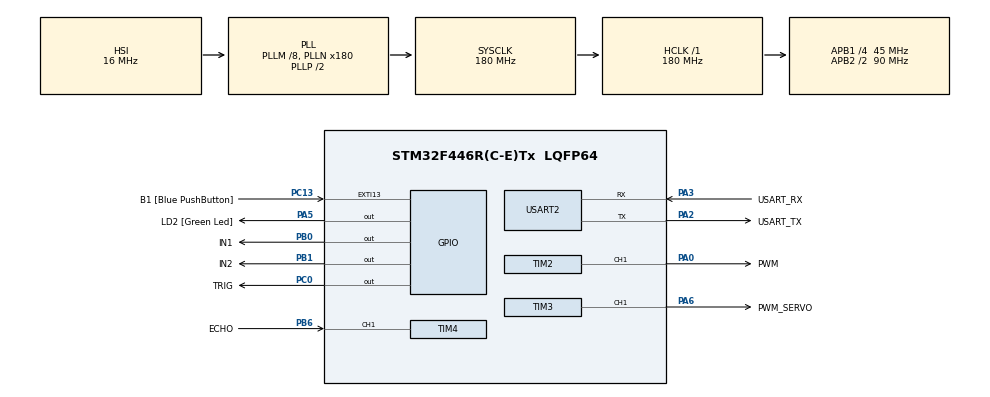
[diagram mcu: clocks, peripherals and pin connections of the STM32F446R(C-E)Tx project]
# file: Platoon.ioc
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Mcu.Family=STM32F4
Mcu.Name=STM32F446R(C-E)Tx
Mcu.Package=LQFP64
NVIC.PriorityGroup=NVIC_PRIORITYGROUP_0
NVIC.TIM4_IRQn=true\:0\:0\:false\:false\:true\:true\:true\:true
NVIC.USART2_IRQn=true\:0\:0\:false\:false\:true\:true\:true\:true
PA0-WKUP.GPIO_Label=PWM
PA0-WKUP.Signal=S_TIM2_CH1_ETR
PA13.GPIO_Label=TMS
PA13.Mode=Serial_Wire
PA13.Signal=SYS_JTMS-SWDIO
PA14.GPIO_Label=TCK
PA14.Mode=Serial_Wire
PA14.Signal=SYS_JTCK-SWCLK
PA2.GPIO_Label=USART_TX
PA2.Mode=Asynchronous
PA2.Signal=USART2_TX
PA3.GPIO_Label=USART_RX
PA3.Mode=Asynchronous
PA3.Signal=USART2_RX
PA5.GPIO_Label=LD2 [Green Led]
PA5.Signal=GPIO_Output
PA6.GPIO_Label=PWM_SERVO
PA6.Signal=S_TIM3_CH1
PB0.GPIO_Label=IN1
PB0.Signal=GPIO_Output
PB1.GPIO_Label=IN2
PB1.Signal=GPIO_Output
PB3.GPIO_Label=SWO
PB3.Signal=SYS_JTDO-SWO
PB6.GPIO_Label=ECHO
PB6.Signal=S_TIM4_CH1
PC0.GPIO_Label=TRIG
PC0.GPIO_Speed=GPIO_SPEED_FREQ_HIGH
PC0.Signal=GPIO_Output
PC13.GPIO_Label=B1 [Blue PushButton]
PC13.GPIO_ModeDefaultEXTI=GPIO_MODE_IT_FALLING
PC13.Signal=GPXTI13
PC14-OSC32_IN.Mode=LSE-External-Oscillator
PC14-OSC32_IN.Signal=RCC_OSC32_IN
PC15-OSC32_OUT.Mode=LSE-External-Oscillator
PC15-OSC32_OUT.Signal=RCC_OSC32_OUT
PH0-OSC_IN.Mode=HSE-External-Oscillator
PH0-OSC_IN.Signal=RCC_OSC_IN
PH1-OSC_OUT.Mode=HSE-External-Oscillator
PH1-OSC_OUT.Signal=RCC_OSC_OUT
ProjectManager.HeapSize=0x200
ProjectManager.StackSize=0x400
ProjectManager.TargetToolchain=STM32CubeIDE
RCC.48MHZClocksFreq_Value=84000000
RCC.AHBFreq_Value=180000000
RCC.APB1CLKDivider=RCC_HCLK_DIV4
RCC.APB1Freq_Value=45000000
RCC.APB1TimFreq_Value=90000000
RCC.APB2CLKDivider=RCC_HCLK_DIV2
RCC.APB2Freq_Value=90000000
RCC.APB2TimFreq_Value=180000000
RCC.CortexFreq_Value=180000000
RCC.FLatency-AdvancedSettings=FLASH_LATENCY_5
RCC.HCLKFreq_Value=180000000
RCC.HSE_VALUE=8000000
RCC.HSI_VALUE=16000000
RCC.PLLM=8
RCC.PLLN=180
RCC.SYSCLKFreq_VALUE=180000000
RCC.SYSCLKSource=RCC_SYSCLKSOURCE_PLLCLK
RCC.USBFreq_Value=180000000
RCC.VCOOutputFreq_Value=360000000
SH.S_TIM2_CH1_ETR.0=TIM2_CH1,PWM Generation1 CH1
SH.S_TIM3_CH1.0=TIM3_CH1,PWM Generation1 CH1
SH.S_TIM4_CH1.0=TIM4_CH1,Input_Capture1_from_TI1
TIM2.Channel-PWM\ Generation1\ CH1=TIM_CHANNEL_1
TIM2.Period=999
TIM2.Prescaler=89
TIM3.Channel-PWM\ Generation1\ CH1=TIM_CHANNEL_1
TIM3.Period=19999
TIM3.Prescaler=89
TIM3.Pulse-PWM\ Generation1\ CH1=1500
TIM4.Channel-Input_Capture1_from_TI1=TIM_CHANNEL_1
TIM4.ICPolarity_CH1=TIM_INPUTCHANNELPOLARITY_BOTHEDGE
TIM4.Period=65535
TIM4.Prescaler=89
USART2.VirtualMode=VM_ASYNC
VP_TIM2_VS_ClockSourceINT.Mode=Internal
VP_TIM3_VS_ClockSourceINT.Mode=Internal
VP_TIM4_VS_ClockSourceINT.Mode=Internal
board=NUCLEO-F446RE

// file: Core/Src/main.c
/* USER CODE BEGIN Header */
/**
  ******************************************************************************
  * @file           : main.c
  * @brief          : Platoon Vehicle Main
  ******************************************************************************
  */
/* USER CODE END Header */

#include "main.h"

/* USER CODE BEGIN Includes */
#include "servo.h"
#include "encoder.h"
#include "supersonic.h"
#include "serial_communication.h"
#include "test.h"
/* USER CODE END Includes */

TIM_HandleTypeDef htim2;
TIM_HandleTypeDef htim3;
TIM_HandleTypeDef htim4;
UART_HandleTypeDef huart2;

void SystemClock_Config(void);
static void MX_GPIO_Init(void);
static void MX_TIM2_Init(void);
static void MX_TIM3_Init(void);
static void MX_TIM4_Init(void);
static void MX_USART2_UART_Init(void);

/* USER CODE BEGIN PV */
static uint32_t last_send_tick = 0;
/* USER CODE END PV */

int main(void)
{
  HAL_Init();
  SystemClock_Config();

  MX_GPIO_Init();
  MX_TIM2_Init();
  MX_TIM3_Init();
  MX_TIM4_Init();
  MX_USART2_UART_Init();

  /* USER CODE BEGIN 2 */
  Encoder_Init(&htim2);
  Servo_Init(&htim3);
  Supersonic_Init(&htim4);
  Serial_Init(&huart2);
  HAL_Delay(500);

  /* ═══════════════════════════════════════════════════════
     테스트 모드 선택 (test.h에서 설정)
     아래 중 하나를 1로 변경하여 테스트 실행
     ═══════════════════════════════════════════════════════ */
  if (TEST_MODE_MOTOR) {
      Test_Motor();
  } else if (TEST_MODE_SERVO) {
      Test_Servo();
  } else if (TEST_MODE_ULTRASONIC) {
      Test_Ultrasonic();
  } else if (TEST_MODE_SERIAL) {
      Test_Serial();
  } else if (TEST_MODE_ALL) {
      Test_All();
  }
  /* USER CODE END 2 */

  while (1)
  {
      // 초음파 트리거 (60ms 간격)
      Supersonic_Trigger();
      HAL_Delay(60);

      // Jetson으로 전송 (100ms 간격)
      if (HAL_GetTick() - last_send_tick >= 100) {
          Serial_SendAll();
          last_send_tick = HAL_GetTick();
      }

      // 장애물 20cm 이내 → 긴급 정지
      float dist = Supersonic_GetDistance();
      if (dist > 0.0f && dist < 20.0f) {
          Motor_Stop();
          HAL_GPIO_WritePin(LD2_GPIO_Port, LD2_Pin, GPIO_PIN_SET);
      } else {
          HAL_GPIO_WritePin(LD2_GPIO_Port, LD2_Pin, GPIO_PIN_RESET);
      }
  }
}

/* USER CODE BEGIN 4 */
void HAL_TIM_IC_CaptureCallback(TIM_HandleTypeDef *htim)
{
    Supersonic_CaptureCallback(htim);
}

void HAL_UART_RxCpltCallback(UART_HandleTypeDef *huart)
{
    if (huart->Instance == USART2)
        Serial_RxCallback();
}
/* USER CODE END 4 */

void SystemClock_Config(void)
{
  RCC_OscInitTypeDef RCC_OscInitStruct = {0};
  RCC_ClkInitTypeDef RCC_ClkInitStruct = {0};
  __HAL_RCC_PWR_CLK_ENABLE();
  __HAL_PWR_VOLTAGESCALING_CONFIG(PWR_REGULATOR_VOLTAGE_SCALE1);
  RCC_OscInitStruct.OscillatorType = RCC_OSCILLATORTYPE_HSI;
  RCC_OscInitStruct.HSIState = RCC_HSI_ON;
  RCC_OscInitStruct.HSICalibrationValue = RCC_HSICALIBRATION_DEFAULT;
  RCC_OscInitStruct.PLL.PLLState = RCC_PLL_ON;
  RCC_OscInitStruct.PLL.PLLSource = RCC_PLLSOURCE_HSI;
  RCC_OscInitStruct.PLL.PLLM = 8;
  RCC_OscInitStruct.PLL.PLLN = 180;
  RCC_OscInitStruct.PLL.PLLP = RCC_PLLP_DIV2;
  RCC_OscInitStruct.PLL.PLLQ = 2;
  RCC_OscInitStruct.PLL.PLLR = 2;
  if (HAL_RCC_OscConfig(&RCC_OscInitStruct) != HAL_OK) Error_Handler();
  if (HAL_PWREx_EnableOverDrive() != HAL_OK) Error_Handler();
  RCC_ClkInitStruct.ClockType = RCC_CLOCKTYPE_HCLK|RCC_CLOCKTYPE_SYSCLK
                              |RCC_CLOCKTYPE_PCLK1|RCC_CLOCKTYPE_PCLK2;
  RCC_ClkInitStruct.SYSCLKSource = RCC_SYSCLKSOURCE_PLLCLK;
  RCC_ClkInitStruct.AHBCLKDivider = RCC_SYSCLK_DIV1;
  RCC_ClkInitStruct.APB1CLKDivider = RCC_HCLK_DIV4;
  RCC_ClkInitStruct.APB2CLKDivider = RCC_HCLK_DIV2;
  if (HAL_RCC_ClockConfig(&RCC_ClkInitStruct, FLASH_LATENCY_5) != HAL_OK) Error_Handler();
}

static void MX_TIM2_Init(void)
{
  TIM_ClockConfigTypeDef sClockSourceConfig = {0};
  TIM_MasterConfigTypeDef sMasterConfig = {0};
  TIM_OC_InitTypeDef sConfigOC = {0};
  htim2.Instance = TIM2;
  htim2.Init.Prescaler = 89;       // 90MHz/90 = 1MHz
  htim2.Init.CounterMode = TIM_COUNTERMODE_UP;
  htim2.Init.Period = 999;
  htim2.Init.ClockDivision = TIM_CLOCKDIVISION_DIV1;
  htim2.Init.AutoReloadPreload = TIM_AUTORELOAD_PRELOAD_DISABLE;
  if (HAL_TIM_Base_Init(&htim2) != HAL_OK) Error_Handler();
  sClockSourceConfig.ClockSource = TIM_CLOCKSOURCE_INTERNAL;
  if (HAL_TIM_ConfigClockSource(&htim2, &sClockSourceConfig) != HAL_OK) Error_Handler();
  if (HAL_TIM_PWM_Init(&htim2) != HAL_OK) Error_Handler();
  sMasterConfig.MasterOutputTrigger = TIM_TRGO_RESET;
  sMasterConfig.MasterSlaveMode = TIM_MASTERSLAVEMODE_DISABLE;
  if (HAL_TIMEx_MasterConfigSynchronization(&htim2, &sMasterConfig) != HAL_OK) Error_Handler();
  sConfigOC.OCMode = TIM_OCMODE_PWM1;
  sConfigOC.Pulse = 0;
  sConfigOC.OCPolarity = TIM_OCPOLARITY_HIGH;
  sConfigOC.OCFastMode = TIM_OCFAST_DISABLE;
  if (HAL_TIM_PWM_ConfigChannel(&htim2, &sConfigOC, TIM_CHANNEL_1) != HAL_OK) Error_Handler();
  HAL_TIM_MspPostInit(&htim2);
}

static void MX_TIM3_Init(void)
{
  TIM_ClockConfigTypeDef sClockSourceConfig = {0};
  TIM_MasterConfigTypeDef sMasterConfig = {0};
  TIM_OC_InitTypeDef sConfigOC = {0};
  htim3.Instance = TIM3;
  htim3.Init.Prescaler = 89;       // 1MHz
  htim3.Init.CounterMode = TIM_COUNTERMODE_UP;
  htim3.Init.Period = 19999;       // 50Hz
  htim3.Init.ClockDivision = TIM_CLOCKDIVISION_DIV1;
  htim3.Init.AutoReloadPreload = TIM_AUTORELOAD_PRELOAD_DISABLE;
  if (HAL_TIM_Base_Init(&htim3) != HAL_OK) Error_Handler();
  sClockSourceConfig.ClockSource = TIM_CLOCKSOURCE_INTERNAL;
  if (HAL_TIM_ConfigClockSource(&htim3, &sClockSourceConfig) != HAL_OK) Error_Handler();
  if (HAL_TIM_PWM_Init(&htim3) != HAL_OK) Error_Handler();
  sMasterConfig.MasterOutputTrigger = TIM_TRGO_RESET;
  sMasterConfig.MasterSlaveMode = TIM_MASTERSLAVEMODE_DISABLE;
  if (HAL_TIMEx_MasterConfigSynchronization(&htim3, &sMasterConfig) != HAL_OK) Error_Handler();
  sConfigOC.OCMode = TIM_OCMODE_PWM1;
  sConfigOC.Pulse = 1500;
  sConfigOC.OCPolarity = TIM_OCPOLARITY_HIGH;
  sConfigOC.OCFastMode = TIM_OCFAST_DISABLE;
  if (HAL_TIM_PWM_ConfigChannel(&htim3, &sConfigOC, TIM_CHANNEL_1) != HAL_OK) Error_Handler();
  HAL_TIM_MspPostInit(&htim3);
}

static void MX_TIM4_Init(void)
{
  TIM_ClockConfigTypeDef sClockSourceConfig = {0};
  TIM_MasterConfigTypeDef sMasterConfig = {0};
  TIM_IC_InitTypeDef sConfigIC = {0};
  htim4.Instance = TIM4;
  htim4.Init.Prescaler = 89;       // 1us 단위
  htim4.Init.CounterMode = TIM_COUNTERMODE_UP;
  htim4.Init.Period = 65535;
  htim4.Init.ClockDivision = TIM_CLOCKDIVISION_DIV1;
  htim4.Init.AutoReloadPreload = TIM_AUTORELOAD_PRELOAD_DISABLE;
  if (HAL_TIM_Base_Init(&htim4) != HAL_OK) Error_Handler();
  sClockSourceConfig.ClockSource = TIM_CLOCKSOURCE_INTERNAL;
  if (HAL_TIM_ConfigClockSource(&htim4, &sClockSourceConfig) != HAL_OK) Error_Handler();
  if (HAL_TIM_IC_Init(&htim4) != HAL_OK) Error_Handler();
  sMasterConfig.MasterOutputTrigger = TIM_TRGO_RESET;
  sMasterConfig.MasterSlaveMode = TIM_MASTERSLAVEMODE_DISABLE;
  if (HAL_TIMEx_MasterConfigSynchronization(&htim4, &sMasterConfig) != HAL_OK) Error_Handler();
  sConfigIC.ICPolarity = TIM_INPUTCHANNELPOLARITY_BOTHEDGE;
  sConfigIC.ICSelection = TIM_ICSELECTION_DIRECTTI;
  sConfigIC.ICPrescaler = TIM_ICPSC_DIV1;
  sConfigIC.ICFilter = 0;
  if (HAL_TIM_IC_ConfigChannel(&htim4, &sConfigIC, TIM_CHANNEL_1) != HAL_OK) Error_Handler();
}

static void MX_USART2_UART_Init(void)
{
  huart2.Instance = USART2;
  huart2.Init.BaudRate = 115200;
  huart2.Init.WordLength = UART_WORDLENGTH_8B;
  huart2.Init.StopBits = UART_STOPBITS_1;
  huart2.Init.Parity = UART_PARITY_NONE;
  huart2.Init.Mode = UART_MODE_TX_RX;
  huart2.Init.HwFlowCtl = UART_HWCONTROL_NONE;
  huart2.Init.OverSampling = UART_OVERSAMPLING_16;
  if (HAL_UART_Init(&huart2) != HAL_OK) Error_Handler();
}

static void MX_GPIO_Init(void)
{
  GPIO_InitTypeDef GPIO_InitStruct = {0};
  __HAL_RCC_GPIOC_CLK_ENABLE();
  __HAL_RCC_GPIOH_CLK_ENABLE();
  __HAL_RCC_GPIOA_CLK_ENABLE();
  __HAL_RCC_GPIOB_CLK_ENABLE();

  HAL_GPIO_WritePin(TRIG_GPIO_Port, TRIG_Pin, GPIO_PIN_RESET);
  HAL_GPIO_WritePin(LD2_GPIO_Port, LD2_Pin, GPIO_PIN_RESET);
  HAL_GPIO_WritePin(GPIOB, IN1_Pin|IN2_Pin, GPIO_PIN_RESET);

  GPIO_InitStruct.Pin = B1_Pin;
  GPIO_InitStruct.Mode = GPIO_MODE_IT_FALLING;
  GPIO_InitStruct.Pull = GPIO_NOPULL;
  HAL_GPIO_Init(B1_GPIO_Port, &GPIO_InitStruct);

  GPIO_InitStruct.Pin = TRIG_Pin;
  GPIO_InitStruct.Mode = GPIO_MODE_OUTPUT_PP;
  GPIO_InitStruct.Pull = GPIO_NOPULL;
  GPIO_InitStruct.Speed = GPIO_SPEED_FREQ_HIGH;
  HAL_GPIO_Init(TRIG_GPIO_Port, &GPIO_InitStruct);

  GPIO_InitStruct.Pin = LD2_Pin;
  GPIO_InitStruct.Mode = GPIO_MODE_OUTPUT_PP;
  GPIO_InitStruct.Pull = GPIO_NOPULL;
  GPIO_InitStruct.Speed = GPIO_SPEED_FREQ_LOW;
  HAL_GPIO_Init(LD2_GPIO_Port, &GPIO_InitStruct);

  GPIO_InitStruct.Pin = IN1_Pin|IN2_Pin;
  GPIO_InitStruct.Mode = GPIO_MODE_OUTPUT_PP;
  GPIO_InitStruct.Pull = GPIO_NOPULL;
  GPIO_InitStruct.Speed = GPIO_SPEED_FREQ_LOW;
  HAL_GPIO_Init(GPIOB, &GPIO_InitStruct);
}

void Error_Handler(void)
{
  __disable_irq();
  while (1) {}
}
